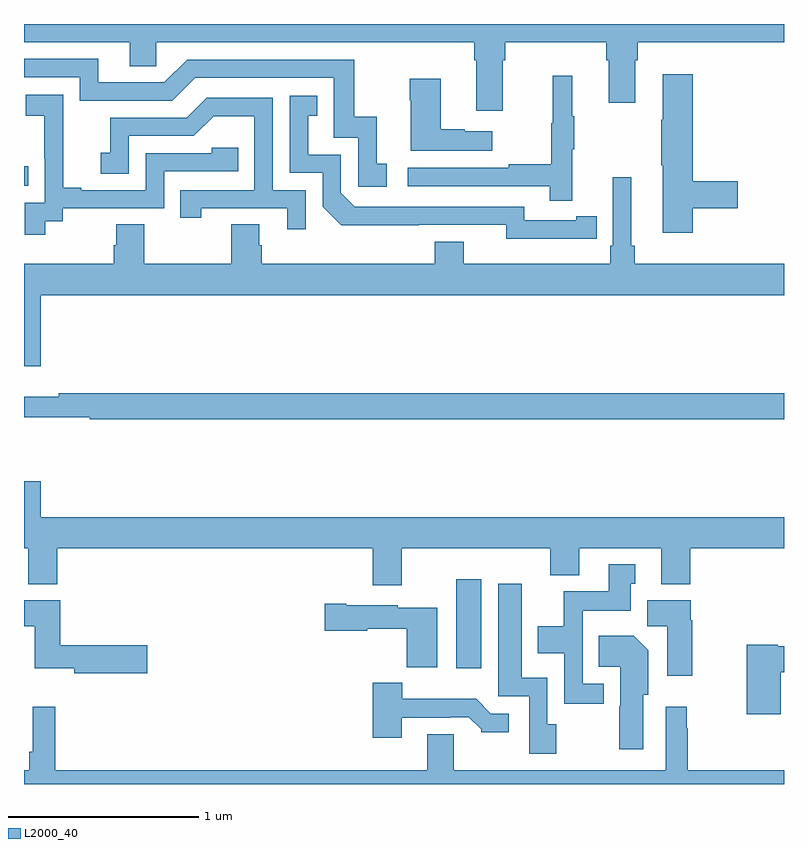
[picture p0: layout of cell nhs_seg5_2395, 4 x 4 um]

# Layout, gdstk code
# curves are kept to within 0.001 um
import gdstk
lib = gdstk.Library(unit=1e-6, precision=1e-09)
def R(c, l, rs):  # rectangles x0, y0, x1, y1
    for r in rs: c.add(gdstk.rectangle(r[:2], r[2:], *l))
def P(c, l, *ps):  # polygons
    for p in ps: c.add(gdstk.Polygon(p, *l))
L2000_40 = (2000, 40)

nhs_seg5_2395 = lib.new_cell('nhs_seg5_2395')
R(nhs_seg5_2395, L2000_40, [(251.276,909.408,251.407,909.877), (249,911.949,249.023,912.05)])
P(nhs_seg5_2395, L2000_40, [(251.521,912.608),(251.534,912.608),(251.534,912.704),(252.065,912.704),(252.065,912.608),(252.077,912.608),(252.077,912.384),(252.217,912.384),(252.217,912.608),(252.23,912.608),(252.23,912.704),(253,912.704),(253,912.799),(249,912.799),(249,912.704),(249.557,912.704),(249.557,912.577),(249.696,912.577),(249.696,912.704),(251.369,912.704),(251.369,912.608),(251.381,912.608),(251.381,912.342),(251.521,912.342)],
  [(250.909,912.063),(250.856,912.063),(250.856,912.31),(250.738,912.31),(250.738,912.612),(249.858,912.612),(249.738,912.492),(249.391,912.492),(249.391,912.615),(249,912.615),(249,912.519),(249.294,912.519),(249.294,912.396),(249.78,912.396),(249.9,912.516),(250.629,912.516),(250.629,912.201),(250.758,912.201),(250.758,911.943),(250.909,911.943)],
  [(252.521,911.83),(252.757,911.83),(252.757,911.972),(252.521,911.972),(252.521,912.535),(252.362,912.535),(252.362,912.296),(252.355,912.296),(252.355,912.055),(252.362,912.055),(252.362,911.7),(252.521,911.7)],
  [(251.885,912.139),(251.896,912.139),(251.896,912.313),(251.885,912.313),(251.885,912.526),(251.782,912.526),(251.782,912.276),(251.775,912.276),(251.775,912.062),(251.551,912.062),(251.551,912.042),(251.019,912.042),(251.019,911.946),(251.767,911.946),(251.767,911.868),(251.885,911.868)],
  [(251.464,912.235),(251.321,912.235),(251.321,912.245),(251.194,912.245),(251.194,912.511),(251.029,912.511),(251.029,912.398),(251.036,912.398),(251.036,912.131),(251.464,912.131)],
  [(249.112,911.761),(249.204,911.761),(249.204,911.829),(249.738,911.829),(249.738,912.024),(250.127,912.024),(250.127,912.147),(249.987,912.147),(249.987,912.12),(249.642,912.12),(249.642,911.925),(249.301,911.925),(249.301,911.938),(249.206,911.938),(249.206,912.221),(249.207,912.221),(249.207,912.427),(249.009,912.427),(249.009,912.317),(249.107,912.317),(249.107,912.089),(249.108,912.089),(249.108,911.859),(249.003,911.859),(249.003,911.691),(249.112,911.691)],
  [(251.906,911.67),(252.014,911.67),(252.014,911.786),(251.906,911.786),(251.906,911.766),(251.634,911.766),(251.634,911.838),(250.74,911.838),(250.668,911.91),(250.668,912.111),(250.495,912.111),(250.495,912.315),(250.544,912.315),(250.544,912.421),(250.398,912.421),(250.398,912.015),(250.572,912.015),(250.572,911.838),(250.67,911.741),(251.538,911.742),(251.538,911.669)],
  [(250.482,911.925),(250.308,911.925),(250.308,912.411),(249.962,912.411),(249.857,912.306),(249.454,912.306),(249.454,912.121),(249.405,912.121),(249.405,912.012),(249.552,912.012),(249.552,912.21),(249.894,912.21),(249.998,912.314),(250.212,912.314),(250.212,911.925),(249.823,911.925),(249.823,911.778),(249.934,911.778),(249.934,911.829),(250.385,911.829),(250.385,911.718),(250.482,911.718)],
  [(253,911.536),(252.215,911.536),(252.215,911.632),(252.196,911.632),(252.196,911.992),(252.099,911.992),(252.099,911.632),(252.086,911.632),(252.086,911.536),(251.314,911.536),(251.314,911.653),(251.162,911.653),(251.162,911.536),(250.25,911.536),(250.25,911.634),(250.237,911.634),(250.237,911.744),(250.09,911.744),(250.09,911.536),(249.633,911.536),(249.633,911.744),(249.485,911.744),(249.485,911.634),(249.473,911.634),(249.473,911.536),(249,911.536),(249,910.998),(249.088,910.998),(249.088,911.372),(253,911.372)],
  [(253,910.856),(249.184,910.856),(249.184,910.837),(249,910.837),(249,910.728),(249.345,910.728),(249.345,910.72),(253,910.72)],
  [(250.987,910.04),(251.771,910.04),(251.771,909.899),(251.923,909.899),(251.923,910.04),(252.353,910.04),(252.353,909.851),(252.506,909.851),(252.506,910.04),(253,910.04),(253,910.204),(249.088,910.204),(249.088,910.393),(249,910.393),(249,910.04),(249.023,910.04),(249.023,909.851),(249.176,909.851),(249.176,910.04),(250.835,910.04),(250.835,909.846),(250.987,909.846)],
  [(252.052,909.327),(251.94,909.327),(251.94,909.71),(252.193,909.71),(252.193,909.852),(252.217,909.852),(252.217,909.955),(252.077,909.955),(252.077,909.814),(251.842,909.814),(251.842,909.628),(251.705,909.628),(251.705,909.488),(251.844,909.488),(251.844,909.222),(252.052,909.222)],
  [(251.802,909.114),(251.754,909.114),(251.754,909.358),(251.62,909.358),(251.62,909.853),(251.495,909.853),(251.495,909.261),(251.658,909.261),(251.658,908.958),(251.802,908.958)],
  [(249.649,909.53),(249.191,909.53),(249.191,909.766),(249,909.766),(249,909.628),(249.056,909.628),(249.056,909.407),(249.264,909.407),(249.264,909.383),(249.649,909.383)],
  [(252.516,909.662),(252.508,909.662),(252.508,909.766),(252.281,909.766),(252.281,909.628),(252.386,909.628),(252.386,909.369),(252.516,909.369)],
  [(251.176,909.727),(250.968,909.727),(250.968,909.739),(250.696,909.739),(250.696,909.747),(250.584,909.747),(250.584,909.605),(250.806,909.605),(250.806,909.617),(251.014,909.617),(251.014,909.413),(251.176,909.413)],
  [(252.259,909.27),(252.286,909.27),(252.286,909.502),(252.208,909.58),(252.025,909.58),(252.025,909.416),(252.137,909.416),(252.137,909.207),(252.132,909.207),(252.132,908.982),(252.259,908.982)],
  [(252.983,909.388),(253,909.388),(253,909.524),(252.966,909.524),(252.966,909.532),(252.805,909.532),(252.805,909.165),(252.983,909.165)],
  [(250.987,909.147),(251.243,909.147),(251.243,909.15),(251.342,909.15),(251.406,909.086),(251.406,909.071),(251.551,909.071),(251.551,909.168),(251.457,909.168),(251.379,909.247),(250.99,909.247),(250.99,909.331),(250.835,909.331),(250.835,909.042),(250.987,909.042)],
  [(253,908.872),(252.494,908.872),(252.494,909.092),(252.487,909.092),(252.487,909.205),(252.378,909.205),(252.378,908.872),(251.263,908.872),(251.263,909.062),(251.123,909.062),(251.123,908.872),(249.164,908.872),(249.164,909.205),(249.046,909.205),(249.046,908.968),(249.028,908.968),(249.028,908.872),(249,908.872),(249,908.799),(253,908.799)])

lib.write_gds('nhs_seg5_2395.gds')
